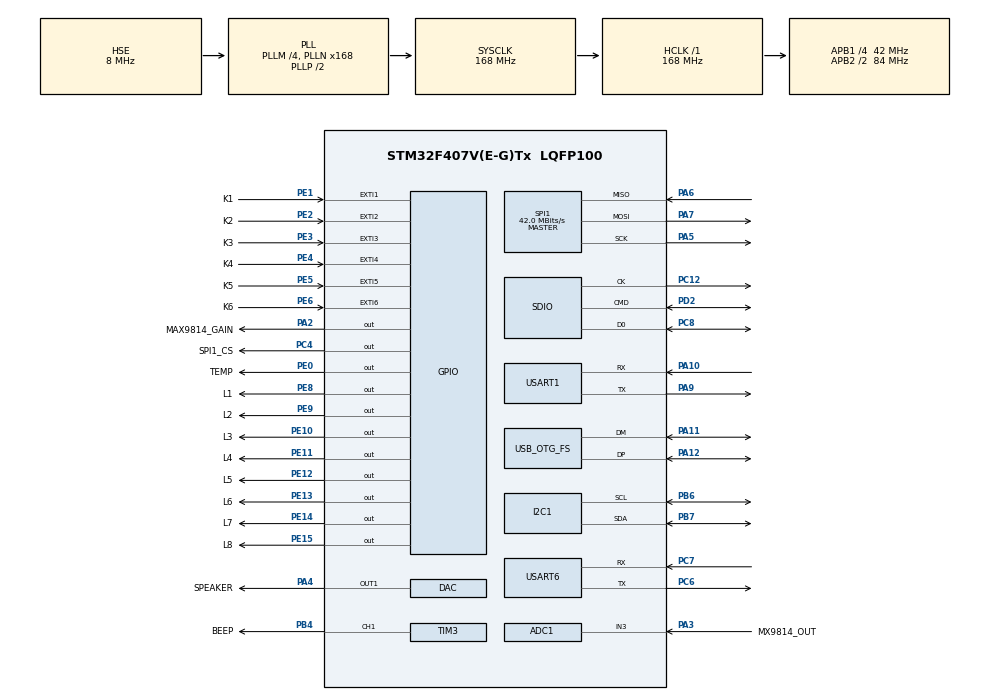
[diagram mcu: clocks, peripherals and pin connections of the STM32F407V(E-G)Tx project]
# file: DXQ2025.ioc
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ADC1.Channel-1\#ChannelRegularConversion=ADC_CHANNEL_3
ADC1.ContinuousConvMode=DISABLE
ADC1.DMAContinuousRequests=ENABLE
ADC1.ExternalTrigConv=ADC_EXTERNALTRIGCONV_T2_TRGO
ADC1.NbrOfConversion=1
ADC1.NbrOfConversionFlag=1
ADC1.Rank-1\#ChannelRegularConversion=1
ADC1.SamplingTime-1\#ChannelRegularConversion=ADC_SAMPLETIME_112CYCLES
ADC1.master=1
DAC.DAC_Trigger=DAC_TRIGGER_T2_TRGO
Dma.ADC1.0.Direction=DMA_PERIPH_TO_MEMORY
Dma.ADC1.0.FIFOMode=DMA_FIFOMODE_DISABLE
Dma.ADC1.0.Instance=DMA2_Stream0
Dma.ADC1.0.MemDataAlignment=DMA_MDATAALIGN_HALFWORD
Dma.ADC1.0.MemInc=DMA_MINC_ENABLE
Dma.ADC1.0.Mode=DMA_CIRCULAR
Dma.ADC1.0.PeriphDataAlignment=DMA_PDATAALIGN_HALFWORD
Dma.ADC1.0.PeriphInc=DMA_PINC_DISABLE
Dma.ADC1.0.Priority=DMA_PRIORITY_LOW
Dma.DAC1.1.Direction=DMA_MEMORY_TO_PERIPH
Dma.DAC1.1.FIFOMode=DMA_FIFOMODE_DISABLE
Dma.DAC1.1.Instance=DMA1_Stream5
Dma.DAC1.1.MemDataAlignment=DMA_MDATAALIGN_HALFWORD
Dma.DAC1.1.MemInc=DMA_MINC_ENABLE
Dma.DAC1.1.Mode=DMA_CIRCULAR
Dma.DAC1.1.PeriphDataAlignment=DMA_PDATAALIGN_HALFWORD
Dma.DAC1.1.PeriphInc=DMA_PINC_DISABLE
Dma.DAC1.1.Priority=DMA_PRIORITY_LOW
Dma.Request0=ADC1
Dma.Request1=DAC1
Dma.Request2=SDIO_RX
Dma.Request3=SDIO_TX
Dma.SDIO_RX.2.Direction=DMA_PERIPH_TO_MEMORY
Dma.SDIO_RX.2.FIFOMode=DMA_FIFOMODE_ENABLE
Dma.SDIO_RX.2.FIFOThreshold=DMA_FIFO_THRESHOLD_FULL
Dma.SDIO_RX.2.Instance=DMA2_Stream3
Dma.SDIO_RX.2.MemBurst=DMA_MBURST_INC4
Dma.SDIO_RX.2.MemDataAlignment=DMA_MDATAALIGN_WORD
Dma.SDIO_RX.2.MemInc=DMA_MINC_ENABLE
Dma.SDIO_RX.2.Mode=DMA_PFCTRL
Dma.SDIO_RX.2.PeriphBurst=DMA_PBURST_INC4
Dma.SDIO_RX.2.PeriphDataAlignment=DMA_PDATAALIGN_WORD
Dma.SDIO_RX.2.PeriphInc=DMA_PINC_DISABLE
Dma.SDIO_RX.2.Priority=DMA_PRIORITY_LOW
Dma.SDIO_TX.3.Direction=DMA_MEMORY_TO_PERIPH
Dma.SDIO_TX.3.FIFOMode=DMA_FIFOMODE_ENABLE
Dma.SDIO_TX.3.FIFOThreshold=DMA_FIFO_THRESHOLD_FULL
Dma.SDIO_TX.3.Instance=DMA2_Stream6
Dma.SDIO_TX.3.MemBurst=DMA_MBURST_INC4
Dma.SDIO_TX.3.MemDataAlignment=DMA_MDATAALIGN_WORD
Dma.SDIO_TX.3.MemInc=DMA_MINC_ENABLE
Dma.SDIO_TX.3.Mode=DMA_PFCTRL
Dma.SDIO_TX.3.PeriphBurst=DMA_PBURST_INC4
Dma.SDIO_TX.3.PeriphDataAlignment=DMA_PDATAALIGN_WORD
Dma.SDIO_TX.3.PeriphInc=DMA_PINC_DISABLE
Dma.SDIO_TX.3.Priority=DMA_PRIORITY_LOW
FATFS._MAX_SS=4096
FREERTOS.Tasks01=defaultTask,24,2048,StartDefaultTask,Default,NULL,Dynamic,NULL,NULL;guiTask,8,2048,StartTaskGui,Default,NULL,Dynamic,NULL,NULL;keyTask,24,1024,StartTaskKey,Default,NULL,Dynamic,NULL,NULL;uartTask,24,1024,StartTaskUart,Default,NULL,Dynamic,NULL,NULL;OtherTask,8,256,StartTaskOther,Default,NULL,Dynamic,NULL,NULL
FREERTOS.configTOTAL_HEAP_SIZE=32768
I2C1.I2C_Mode=I2C_Fast
Mcu.Family=STM32F4
Mcu.Name=STM32F407V(E-G)Tx
Mcu.Package=LQFP100
NVIC.DMA1_Stream5_IRQn=true\:5\:0\:false\:false\:true\:true\:false\:true\:true
NVIC.DMA2_Stream0_IRQn=true\:5\:0\:false\:false\:true\:true\:false\:true\:true
NVIC.DMA2_Stream3_IRQn=true\:5\:0\:false\:false\:true\:true\:false\:true\:true
NVIC.DMA2_Stream6_IRQn=true\:5\:0\:false\:false\:true\:true\:false\:true\:true
NVIC.EXTI1_IRQn=true\:5\:0\:false\:false\:true\:true\:true\:true\:true
NVIC.EXTI2_IRQn=true\:5\:0\:false\:false\:true\:true\:true\:true\:true
NVIC.EXTI3_IRQn=true\:5\:0\:false\:false\:true\:true\:true\:true\:true
NVIC.EXTI4_IRQn=true\:5\:0\:false\:false\:true\:true\:true\:true\:true
NVIC.EXTI9_5_IRQn=true\:5\:0\:false\:false\:true\:true\:true\:true\:true
NVIC.OTG_FS_IRQn=true\:5\:0\:false\:false\:true\:true\:false\:true\:true
NVIC.PriorityGroup=NVIC_PRIORITYGROUP_4
NVIC.RTC_Alarm_IRQn=true\:5\:0\:false\:false\:true\:true\:true\:true\:true
NVIC.SDIO_IRQn=true\:5\:0\:false\:false\:true\:true\:true\:true\:true
NVIC.TIM7_IRQn=true\:15\:0\:false\:false\:true\:false\:false\:true\:true
NVIC.TIM8_UP_TIM13_IRQn=true\:5\:0\:false\:false\:true\:true\:true\:true\:true
NVIC.TimeBase=TIM7_IRQn
NVIC.TimeBaseIP=TIM7
NVIC.USART1_IRQn=true\:5\:0\:false\:false\:true\:true\:true\:true\:true
NVIC.USART6_IRQn=true\:5\:0\:false\:false\:true\:true\:true\:true\:true
PA10.Mode=Asynchronous
PA10.Signal=USART1_RX
PA11.Mode=Host_Only
PA11.Signal=USB_OTG_FS_DM
PA12.Mode=Host_Only
PA12.Signal=USB_OTG_FS_DP
PA13.Mode=Serial_Wire
PA13.Signal=SYS_JTMS-SWDIO
PA14.Mode=Serial_Wire
PA14.Signal=SYS_JTCK-SWCLK
PA2.GPIO_Label=MAX9814_GAIN
PA2.Signal=GPIO_Output
PA3.GPIO_Label=MX9814_OUT
PA3.Signal=ADCx_IN3
PA4.GPIO_Label=SPEAKER
PA4.Signal=COMP_DAC1_group
PA5.Mode=Full_Duplex_Master
PA5.Signal=SPI1_SCK
PA6.Mode=Full_Duplex_Master
PA6.Signal=SPI1_MISO
PA7.Mode=Full_Duplex_Master
PA7.Signal=SPI1_MOSI
PA9.Mode=Asynchronous
PA9.Signal=USART1_TX
PB4.GPIO_Label=BEEP
PB4.Signal=S_TIM3_CH1
PB6.Mode=I2C
PB6.Signal=I2C1_SCL
PB7.Mode=I2C
PB7.Signal=I2C1_SDA
PC12.Mode=SD_1_bit
PC12.Signal=SDIO_CK
PC14-OSC32_IN.Mode=LSE-External-Oscillator
PC14-OSC32_IN.Signal=RCC_OSC32_IN
PC15-OSC32_OUT.Mode=LSE-External-Oscillator
PC15-OSC32_OUT.Signal=RCC_OSC32_OUT
PC4.GPIO_Label=SPI1_CS
PC4.Signal=GPIO_Output
PC6.Mode=Asynchronous
PC6.Signal=USART6_TX
PC7.Mode=Asynchronous
PC7.Signal=USART6_RX
PC8.Mode=SD_1_bit
PC8.Signal=SDIO_D0
PD2.Mode=SD_1_bit
PD2.Signal=SDIO_CMD
PE0.GPIO_Label=TEMP
PE0.Signal=GPIO_Output
PE1.GPIO_Label=K1
PE1.GPIO_ModeDefaultEXTI=GPIO_MODE_IT_FALLING
PE1.GPIO_PuPd=GPIO_PULLUP
PE1.Signal=GPXTI1
PE10.GPIO_Label=L3
PE10.PinState=GPIO_PIN_SET
PE10.Signal=GPIO_Output
PE11.GPIO_Label=L4
PE11.PinState=GPIO_PIN_SET
PE11.Signal=GPIO_Output
PE12.GPIO_Label=L5
PE12.PinState=GPIO_PIN_SET
PE12.Signal=GPIO_Output
PE13.GPIO_Label=L6
PE13.PinState=GPIO_PIN_SET
PE13.Signal=GPIO_Output
PE14.GPIO_Label=L7
PE14.PinState=GPIO_PIN_SET
PE14.Signal=GPIO_Output
PE15.GPIO_Label=L8
PE15.PinState=GPIO_PIN_SET
PE15.Signal=GPIO_Output
PE2.GPIO_Label=K2
PE2.GPIO_ModeDefaultEXTI=GPIO_MODE_IT_FALLING
PE2.GPIO_PuPd=GPIO_PULLUP
PE2.Signal=GPXTI2
PE3.GPIO_Label=K3
PE3.GPIO_ModeDefaultEXTI=GPIO_MODE_IT_FALLING
PE3.GPIO_PuPd=GPIO_PULLUP
PE3.Signal=GPXTI3
PE4.GPIO_Label=K4
PE4.GPIO_ModeDefaultEXTI=GPIO_MODE_IT_FALLING
PE4.GPIO_PuPd=GPIO_PULLUP
PE4.Signal=GPXTI4
PE5.GPIO_Label=K5
PE5.GPIO_ModeDefaultEXTI=GPIO_MODE_IT_RISING
PE5.GPIO_PuPd=GPIO_PULLDOWN
PE5.Signal=GPXTI5
PE6.GPIO_Label=K6
PE6.GPIO_ModeDefaultEXTI=GPIO_MODE_IT_RISING
PE6.GPIO_PuPd=GPIO_PULLDOWN
PE6.Signal=GPXTI6
PE8.GPIO_Label=L1
PE8.PinState=GPIO_PIN_SET
PE8.Signal=GPIO_Output
PE9.GPIO_Label=L2
PE9.PinState=GPIO_PIN_SET
PE9.Signal=GPIO_Output
PH0-OSC_IN.Mode=HSE-External-Oscillator
PH0-OSC_IN.Signal=RCC_OSC_IN
PH1-OSC_OUT.Mode=HSE-External-Oscillator
PH1-OSC_OUT.Signal=RCC_OSC_OUT
ProjectManager.HeapSize=0x200
ProjectManager.StackSize=0x400
ProjectManager.TargetToolchain=MDK-ARM V5.32
RCC.48MHZClocksFreq_Value=48000000
RCC.AHBFreq_Value=168000000
RCC.APB1CLKDivider=RCC_HCLK_DIV4
RCC.APB1Freq_Value=42000000
RCC.APB1TimFreq_Value=84000000
RCC.APB2CLKDivider=RCC_HCLK_DIV2
RCC.APB2Freq_Value=84000000
RCC.APB2TimFreq_Value=168000000
RCC.CortexFreq_Value=168000000
RCC.HCLKFreq_Value=168000000
RCC.HSE_VALUE=8000000
RCC.HSI_VALUE=16000000
RCC.PLLM=4
RCC.PLLN=168
RCC.PLLQ=7
RCC.RCC_RTC_Clock_Source=RCC_RTCCLKSOURCE_LSE
RCC.RCC_RTC_Clock_SourceVirtual=RCC_RTCCLKSOURCE_LSE
RCC.SYSCLKFreq_VALUE=168000000
RCC.SYSCLKSource=RCC_SYSCLKSOURCE_PLLCLK
RCC.VCOOutputFreq_Value=336000000
RTC.Alarm=RTC_ALARM_A
SH.ADCx_IN3.0=ADC1_IN3,IN3
SH.COMP_DAC1_group.0=DAC_OUT1,DAC_OUT1
SH.S_TIM3_CH1.0=TIM3_CH1,PWM Generation1 CH1
SPI1.CalculateBaudRate=42.0 MBits/s
SPI1.Direction=SPI_DIRECTION_2LINES
SPI1.Mode=SPI_MODE_MASTER
SPI1.VirtualType=VM_MASTER
TIM2.AutoReloadPreload=TIM_AUTORELOAD_PRELOAD_DISABLE
TIM2.Period=1500-1
TIM2.Prescaler=7 - 1
TIM2.TIM_MasterOutputTrigger=TIM_TRGO_UPDATE
TIM3.AutoReloadPreload=TIM_AUTORELOAD_PRELOAD_ENABLE
TIM3.Channel-PWM\ Generation1\ CH1=TIM_CHANNEL_1
TIM3.Period=1000-1
TIM3.Prescaler=84-1
TIM3.Pulse-PWM\ Generation1\ CH1=500
TIM8.AutoReloadPreload=TIM_AUTORELOAD_PRELOAD_ENABLE
TIM8.Period=100-1
TIM8.Prescaler=168-1
USART1.VirtualMode=VM_ASYNC
USART6.VirtualMode=VM_ASYNC
USB_HOST.SW_VBUS_DRIVE_MSC_FS=false
USB_HOST.USBH_HandleTypeDef-MSC_FS=hUsbHostFS
USB_HOST.USBH_PROCESS_PRIO-MSC_FS=osPriorityHigh
USB_HOST.USBH_PROCESS_STACK_SIZE-MSC_FS=512
USB_HOST.VirtualModeFS=Msc
USB_OTG_FS.VirtualMode=Host_Only
USB_OTG_FS.phy_itface=HCD_PHY_EMBEDDED
VP_FATFS_VS_Generic.Mode=User_defined
VP_FATFS_VS_SDIO.Mode=SDIO
VP_FATFS_VS_USB.Mode=USB
VP_FREERTOS_VS_CMSIS_V2.Mode=CMSIS_V2
VP_RTC_VS_RTC_Activate.Mode=RTC_Enabled
VP_RTC_VS_RTC_Alarm_A_Intern.Mode=Alarm A
VP_RTC_VS_RTC_Calendar.Mode=RTC_Calendar
VP_SYS_VS_tim7.Mode=TIM7
VP_TIM2_VS_ClockSourceINT.Mode=Internal
VP_TIM3_VS_ClockSourceINT.Mode=Internal
VP_TIM8_VS_ClockSourceINT.Mode=Internal
VP_USB_HOST_VS_USB_HOST_MSC_FS.Mode=MSC_FS
board=custom

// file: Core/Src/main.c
/* USER CODE BEGIN Header */
/**
  ******************************************************************************
  * @file           : main.c
  * @brief          : Main program body
  ******************************************************************************
  * @attention
  *
  * Copyright (c) 2025 STMicroelectronics.
  * All rights reserved.
  *
  * This software is licensed under terms that can be found in the LICENSE file
  * in the root directory of this software component.
  * If no LICENSE file comes with this software, it is provided AS-IS.
  *
  ******************************************************************************
  */
/* USER CODE END Header */
#include "main.h"
#include "cmsis_os.h"
#include "adc.h"
#include "dac.h"
#include "dma.h"
#include "fatfs.h"
#include "i2c.h"
#include "rtc.h"
#include "sdio.h"
#include "spi.h"
#include "tim.h"
#include "usart.h"
#include "usb_host.h"
#include "gpio.h"

/* USER CODE BEGIN Includes */
#include "beep.h"
#include "spwm_led.h"
//#include "spwm_led.h"

/* USER CODE END Includes */

/* USER CODE BEGIN PV */
UI_STATE g_uista=UI_START;

/* USER CODE END PV */

void SystemClock_Config(void);
void MX_FREERTOS_Init(void);

int main(void)
{

  /* MCU Configuration--------------------------------------------------------*/

  /* Reset of all peripherals, Initializes the Flash interface and the Systick. */
  HAL_Init();

  /* Configure the system clock */
  SystemClock_Config();

  /* Initialize all configured peripherals */
  MX_GPIO_Init();
  MX_DMA_Init();
  MX_ADC1_Init();
  MX_DAC_Init();
  MX_I2C1_Init();
  MX_RTC_Init();
  MX_SDIO_SD_Init();
  MX_SPI1_Init();
  MX_TIM2_Init();
  MX_TIM3_Init();
  MX_USART6_UART_Init();
  MX_FATFS_Init();
  MX_USART1_UART_Init();
  MX_TIM8_Init();
  /* USER CODE BEGIN 2 */
spwm_led_init(&htim8);
  /* USER CODE END 2 */

  /* Init scheduler */
  osKernelInitialize();

  /* Call init function for freertos objects (in cmsis_os2.c) */
  MX_FREERTOS_Init();

  /* Start scheduler */
  osKernelStart();

  /* We should never get here as control is now taken by the scheduler */

  /* Infinite loop */
  while (1)
  {

  }
}

void SystemClock_Config(void)
{
  RCC_OscInitTypeDef RCC_OscInitStruct = {0};
  RCC_ClkInitTypeDef RCC_ClkInitStruct = {0};

  /** Configure the main internal regulator output voltage
  */
  __HAL_RCC_PWR_CLK_ENABLE();
  __HAL_PWR_VOLTAGESCALING_CONFIG(PWR_REGULATOR_VOLTAGE_SCALE1);

  /** Initializes the RCC Oscillators according to the specified parameters
  * in the RCC_OscInitTypeDef structure.
  */
  RCC_OscInitStruct.OscillatorType = RCC_OSCILLATORTYPE_HSE|RCC_OSCILLATORTYPE_LSE;
  RCC_OscInitStruct.HSEState = RCC_HSE_ON;
  RCC_OscInitStruct.LSEState = RCC_LSE_ON;
  RCC_OscInitStruct.PLL.PLLState = RCC_PLL_ON;
  RCC_OscInitStruct.PLL.PLLSource = RCC_PLLSOURCE_HSE;
  RCC_OscInitStruct.PLL.PLLM = 4;
  RCC_OscInitStruct.PLL.PLLN = 168;
  RCC_OscInitStruct.PLL.PLLP = RCC_PLLP_DIV2;
  RCC_OscInitStruct.PLL.PLLQ = 7;
  if (HAL_RCC_OscConfig(&RCC_OscInitStruct) != HAL_OK)
  {
    Error_Handler();
  }

  /** Initializes the CPU, AHB and APB buses clocks
  */
  RCC_ClkInitStruct.ClockType = RCC_CLOCKTYPE_HCLK|RCC_CLOCKTYPE_SYSCLK
                              |RCC_CLOCKTYPE_PCLK1|RCC_CLOCKTYPE_PCLK2;
  RCC_ClkInitStruct.SYSCLKSource = RCC_SYSCLKSOURCE_PLLCLK;
  RCC_ClkInitStruct.AHBCLKDivider = RCC_SYSCLK_DIV1;
  RCC_ClkInitStruct.APB1CLKDivider = RCC_HCLK_DIV4;
  RCC_ClkInitStruct.APB2CLKDivider = RCC_HCLK_DIV2;

  if (HAL_RCC_ClockConfig(&RCC_ClkInitStruct, FLASH_LATENCY_5) != HAL_OK)
  {
    Error_Handler();
  }
}

void HAL_TIM_PeriodElapsedCallback(TIM_HandleTypeDef *htim)
{
  if (htim->Instance == TIM7)
  {
    HAL_IncTick();
  }
  /* USER CODE BEGIN Callback 1 */
	if(htim->Instance==TIM7)
		BeepRun();
	if(htim->Instance==TIM8)
		spwm_led_run(&htim8);
  /* USER CODE END Callback 1 */
}

void Error_Handler(void)
{
  __disable_irq();
  while (1)
  {
  }
}

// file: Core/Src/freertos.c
/* USER CODE BEGIN Header */
/**
  ******************************************************************************
  * File Name          : freertos.c
  * Description        : Code for freertos applications
  ******************************************************************************
  * @attention
  *
  * Copyright (c) 2025 STMicroelectronics.
  * All rights reserved.
  *
  * This software is licensed under terms that can be found in the LICENSE file
  * in the root directory of this software component.
  * If no LICENSE file comes with this software, it is provided AS-IS.
  *
  ******************************************************************************
  */
/* USER CODE END Header */

#include "FreeRTOS.h"
#include "task.h"
#include "main.h"
#include "cmsis_os.h"

/* USER CODE BEGIN Includes */
#include "gpio.h"
#include "DS_18B20.h"
#include "max9814.h"
#include "GUI.h"
#include "ui_start.h"
#include "ui_main.h"
#include "ui_set_time.h"
#include "ui_set_para.h"
#include "beep.h"
#include <stdio.h>
#include <stdlib.h>
#include <string.h>
#include "fatfs.h"
#include "w25qxx.h"
#include "ui_record.h"
/* USER CODE END Includes */

/* USER CODE BEGIN Variables */
 BYTE work[SECTOR_SIZE]; // 格式化工作缓冲区
 uint8_t g_bInitFSOK=0;
 extern FIL *g_pFil;//指针地址切换
 extern FATFS *g_pFs;
 extern char *path;
 FRESULT g_fs_res = FR_OK;
//extern GUI_FLASH const GUI_FONT GUI_FontHZ_SimSun_12;
/* USER CODE END Variables */
/* Definitions for defaultTask */
osThreadId_t defaultTaskHandle;
const osThreadAttr_t defaultTask_attributes = {
  .name = "defaultTask",
  .stack_size = 2048 * 4,
  .priority = (osPriority_t) osPriorityNormal,
};
/* Definitions for guiTask */
osThreadId_t guiTaskHandle;
const osThreadAttr_t guiTask_attributes = {
  .name = "guiTask",
  .stack_size = 2048 * 4,
  .priority = (osPriority_t) osPriorityLow,
};
/* Definitions for keyTask */
osThreadId_t keyTaskHandle;
const osThreadAttr_t keyTask_attributes = {
  .name = "keyTask",
  .stack_size = 1024 * 4,
  .priority = (osPriority_t) osPriorityNormal,
};
/* Definitions for uartTask */
osThreadId_t uartTaskHandle;
const osThreadAttr_t uartTask_attributes = {
  .name = "uartTask",
  .stack_size = 1024 * 4,
  .priority = (osPriority_t) osPriorityNormal,
};
/* Definitions for OtherTask */
osThreadId_t OtherTaskHandle;
const osThreadAttr_t OtherTask_attributes = {
  .name = "OtherTask",
  .stack_size = 256 * 4,
  .priority = (osPriority_t) osPriorityLow,
};
/*Definitions for guiSema*/
osSemaphoreId_t guiSemaHandle;
const osSemaphoreAttr_t guiSema_attributes={
	.name="guiSema"
};
/* USER CODE BEGIN FunctionPrototypes */
FRESULT InitFS(FATFS *pfs, FIL *pfil, char *path);
/* USER CODE END FunctionPrototypes */

void StartDefaultTask(void *argument);
void StartTaskGui(void *argument);
void StartTaskKey(void *argument);
void StartTaskUart(void *argument);
void StartTaskOther(void *argument);

extern void MX_USB_HOST_Init(void);
void MX_FREERTOS_Init(void); /* (MISRA C 2004 rule 8.1) */

void MX_FREERTOS_Init(void) {

  /* USER CODE BEGIN RTOS_SEMAPHORES */
  /* add semaphores, ... */
	guiSemaHandle=osSemaphoreNew(1,1,&guiSema_attributes);
  /* USER CODE END RTOS_SEMAPHORES */

  /* Create the thread(s) */
  /* creation of defaultTask */
  defaultTaskHandle = osThreadNew(StartDefaultTask, NULL, &defaultTask_attributes);

//  /* creation of guiTask */
  guiTaskHandle = osThreadNew(StartTaskGui, NULL, &guiTask_attributes);

//  /* creation of keyTask */
  keyTaskHandle = osThreadNew(StartTaskKey, NULL, &keyTask_attributes);

//  /* creation of uartTask */
  uartTaskHandle = osThreadNew(StartTaskUart, NULL, &uartTask_attributes);

//  /* creation of OtherTask */
  OtherTaskHandle = osThreadNew(StartTaskOther, NULL, &OtherTask_attributes);

}

void StartDefaultTask(void *argument)
{
  /* init code for USB_HOST */
  MX_USB_HOST_Init();
//  /* USER CODE BEGIN StartDefaultTask */
//  /* Infinite loop */
//	StartSample();
	osDelay(100);
	ds18b20_init();
	osDelay(10);
	ds18b20_read();
	retUSER=InitFS(g_pFs,g_pFil,path);

		uint32_t temp_tick = 0;
	uint16_t *pbuff1=(uint16_t*)g_dma_buff;
	uint16_t *pbuff2=(uint16_t*)(g_dma_buff+(MAX_DMA_BUFF_SIZE/2));
	uint32_t rwsize=0;
  for(;;)
  {
		uint32_t ctick = osKernelGetTickCount();
		if (ctick >= temp_tick)
		{
			temp_tick = ctick + 1000;
			ds18b20_read();
		}

		uint32_t flag = osThreadFlagsWait(0x07, osFlagsWaitAny, 0);
		if (flag > 0 && flag <=0x07)
		{
			if(STA_RECORD==g_wsta || STA_SAVE==g_wsta)
			{
				uint32_t bw;
				osSemaphoreAcquire(guiSemaHandle,100);
				retUSER=f_write(g_pFil,(uint8_t*)((flag&0x01)?pbuff1:pbuff2),MAX_DMA_BUFF_SIZE,&bw);
				osSemaphoreRelease(guiSemaHandle);
				rwsize+=MAX_DMA_BUFF_SIZE;
	      if(retUSER!=FR_OK || bw!=MAX_DMA_BUFF_SIZE)
				{
					f_close(g_pFil);
					g_wsta=STA_READY;
					printf("write record file error!%d\n",retUSER);
				}
				else
					printf("write record file size:%d\n",rwsize);
				if(STA_SAVE ==g_wsta)
				{
					g_wsta=STA_READY ;
					f_close (g_pFil);
					printf("停止录音!\n");
					rwsize=0;
				}
			}
			else if(STA_PLAY==g_wsta)
			{
				uint32_t br;
				osSemaphoreAcquire(guiSemaHandle,100);
				retUSER=f_read(g_pFil,(uint8_t*)((flag&0x01)?pbuff1:pbuff2),MAX_DMA_BUFF_SIZE,&br);
				osSemaphoreRelease(guiSemaHandle);
				rwsize+=MAX_DMA_BUFF_SIZE;
				if(retUSER!=FR_OK || br==0)
				{
					f_close(g_pFil);
					g_wsta=STA_READY;
					printf("read record file error!%d\n",retUSER);
				}
				else
					printf("read record file size:%d\n",rwsize);

			}
		}
    osDelay(1);
  }
  /* USER CODE END StartDefaultTask */
}

void StartTaskGui(void *argument)
{
  /* USER CODE BEGIN StartTaskGui */
  /* Infinite loop */
	osDelay(500);
	GUI_Init();
  for(;;)
  {
		switch(g_uista)
		{
			default:
			case UI_START:
				ui_start();
				break;
			case UI_MAIN:
				ui_main();
				break;
			case UI_RECORD:
				ui_record();
				break;
			case UI_SET_TIME:
				ui_set_time();
				break;
			case UI_SET_PARA:
				ui_set_para();
				break;
		}
    osDelay(1);
  }
  /* USER CODE END StartTaskGui */
}

void StartTaskKey(void *argument)
{
  /* USER CODE BEGIN StartTaskKey */
  /* Infinite loop */
	uint16_t key;
  for(;;)
  {
		key = KeyScan();
		if(key>0)
		{
			osThreadFlagsSet (guiTaskHandle ,key);
		}

    osDelay(10);
  }
  /* USER CODE END StartTaskKey */
}

void StartTaskUart(void *argument)
{
  for(;;)
  {
    osDelay(1);
  }
}

void StartTaskOther(void *argument)
{
  for(;;)
  {
    osDelay(1);
  }
}

/* USER CODE BEGIN Application */
FRESULT InitFS(FATFS *g_pFs, FIL *g_pFil, char *path) {

 char filename[128]; // 文件路径名
 FRESULT g_fs_res; // 文件操作结果
 osDelay(100); // 延时等待外设稳定
 g_fs_res= f_mount(g_pFs, path, 1); // 立即挂载文件系统
	if(g_fs_res == FR_NO_FILESYSTEM){ // 重新格式化FLASH
	 printf("Disk Formatting...\n");// 开始格式化FLASH
	 g_fs_res = f_mkfs(path, FM_ANY, 0, work, sizeof(work));
	 if (g_fs_res != FR_OK) {
		 printf("mkfs error.\n");
		 g_bInitFSOK=0;
		 return g_fs_res; // 格式化错误，直接返回
	 }
	 g_fs_res=f_mount(g_pFs,path,1);
 }
	if (g_fs_res == FR_OK) // 打印初始化结果
	{
		printf("FATFS Init ok!\n");
		g_bInitFSOK=1;
	}
 else {
	 printf("FATFS Init error%d\n",g_fs_res);
	 g_bInitFSOK=0;
 }
 return g_fs_res; // 初始化失败，直接返回
 }
/* USER CODE END Application */
